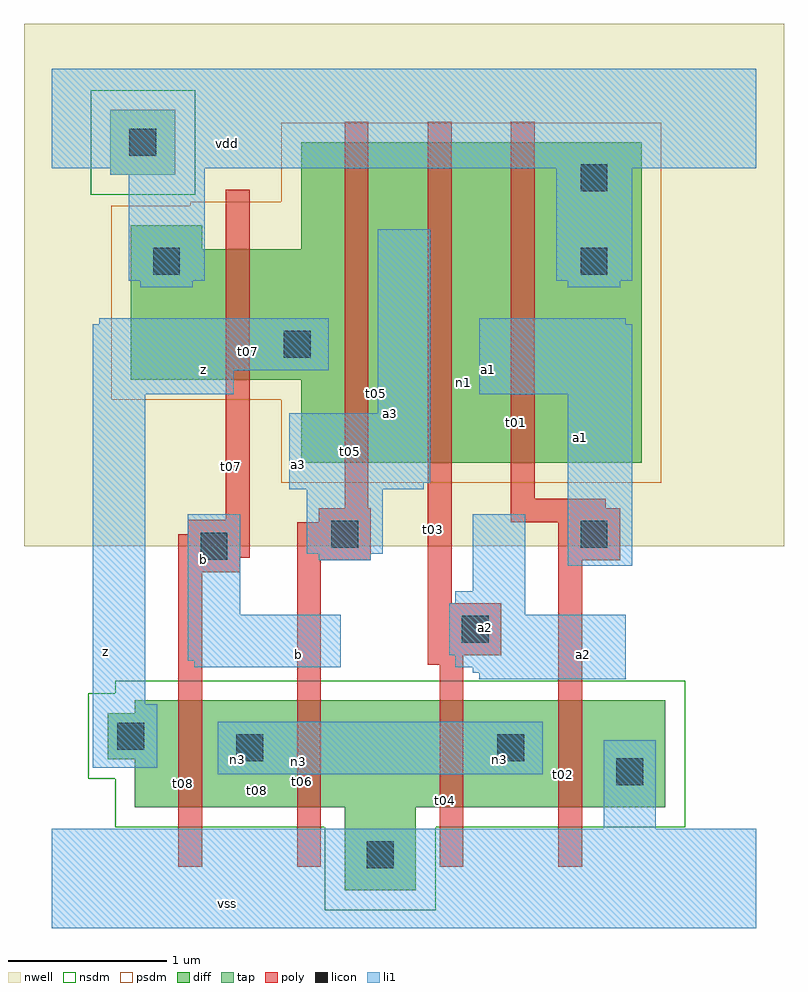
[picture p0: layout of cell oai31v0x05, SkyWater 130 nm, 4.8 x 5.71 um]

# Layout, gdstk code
import gdstk
lib = gdstk.Library(unit=1e-6, precision=5e-09)
def R(c, l, rs):  # rectangles x0, y0, x1, y1
    for r in rs: c.add(gdstk.rectangle(r[:2], r[2:], *l))
nwell = (64, 20)
diff = (65, 20)
tap = (65, 44)
poly = (66, 20)
licon = (66, 44)
li1 = (67, 20)
nsdm = (93, 44)
psdm = (94, 20)

oai31v0x05 = lib.new_cell('oai31v0x05')
R(oai31v0x05, nwell, [(-0.3,2.4,4.5,5.7)])
R(oai31v0x05, diff, [(1.725,0.225,2.175,1.425), (0.4,0.75,3.75,1.425), (0.23,1.055,3.75,1.345), (1.45,2.925,3.6,4.95), (0.375,3.45,0.825,4.425), (0.375,3.45,3.6,4.275)])
R(oai31v0x05, tap, [(0.245,4.745,0.655,5.155)])
R(oai31v0x05, poly, [(0.675,0.375,0.825,2.475), (1.425,0.375,1.575,2.55), (2.325,0.375,2.475,2.04), (3.075,0.375,3.225,2.7), (2.25,1.65,2.475,2.04), (2.25,1.65,2.4,5.08), (2.25,1.71,2.715,2.04), (0.675,2.235,1.065,2.475), (0.735,2.235,1.065,2.565), (1.425,2.31,1.89,2.55), (1.56,2.31,1.89,2.64), (1.725,2.31,1.875,5.08), (3.075,2.31,3.375,2.7), (3.075,2.31,3.465,2.64), (0.675,2.325,1.125,2.475), (0.975,2.325,1.125,4.65), (2.775,2.55,3.375,2.7), (2.775,2.55,2.925,5.08)])
R(oai31v0x05, licon, [(1.865,0.365,2.035,0.535), (3.44,0.89,3.61,1.06), (1.04,1.04,1.21,1.21), (2.69,1.04,2.86,1.21), (0.29,1.115,0.46,1.285), (2.465,1.79,2.635,1.96), (0.815,2.315,0.985,2.485), (1.64,2.39,1.81,2.56), (3.215,2.39,3.385,2.56), (1.34,3.59,1.51,3.76), (0.515,4.115,0.685,4.285), (3.215,4.115,3.385,4.285), (3.215,4.64,3.385,4.81), (0.365,4.865,0.535,5.035)])
R(oai31v0x05, li1, [(-0.125,-0.015,4.325,0.615), (-0.125,-0.015,4.325,0.615), (3.36,-0.015,3.69,1.175), (0.925,0.96,2.975,1.29), (0.135,1,0.54,1.4), (0.135,1,0.465,3.8), (0.175,1,0.465,3.84), (0.135,1.075,0.465,3.725), (2.575,1.56,2.865,2.6), (2.575,1.56,3.5,1.965), (2.535,1.6,2.865,2.6), (2.535,1.6,3.5,1.965), (0.775,1.635,1.065,2.6), (0.775,1.635,1.7,1.965), (1.375,1.635,1.625,1.965), (2.425,1.635,2.865,2.115), (2.425,1.635,3.5,1.965), (3.175,1.635,3.425,1.965), (0.735,1.675,1.065,2.6), (0.735,1.675,1.7,1.965), (2.535,1.675,2.865,2.525), (2.385,1.71,2.865,2.04), (2.385,1.71,3.5,1.965), (0.775,2.235,1.025,2.565), (3.135,2.275,3.5,3.84), (3.135,2.275,3.5,3.84), (3.135,2.275,3.54,3.8), (1.56,2.31,1.89,3.24), (1.485,2.35,1.965,3.24), (1.375,2.76,2.225,3.24), (1.935,2.76,2.225,4.4), (1.375,2.8,2.265,3.24), (1.935,2.8,2.265,4.4), (1.375,2.835,1.625,3.165), (1.935,2.875,2.265,4.325), (3.135,2.875,3.465,3.725), (0.135,3.36,1.025,3.8), (0.175,3.36,1.025,3.84), (2.575,3.36,3.54,3.8), (2.575,3.36,3.54,3.8), (2.575,3.36,3.5,3.84), (0.775,3.435,1.025,3.765), (2.575,3.435,2.825,3.765), (0.135,3.51,1.625,3.8), (0.175,3.51,1.625,3.84), (0.435,4.035,0.765,5.415), (3.135,4.035,3.465,5.415), (0.36,4.075,0.84,5.415), (3.06,4.075,3.54,5.415), (0.245,4.745,0.84,5.415), (-0.125,4.785,4.325,5.415), (-0.125,4.785,4.325,5.415)])
R(oai31v0x05, nsdm, [(1.6,0.1,2.3,1.55), (1.725,0.225,2.175,1.425), (1.725,0.225,2.175,1.425), (1.805,0.305,2.095,0.595), (0.275,0.625,3.875,1.55), (0.975,0.75,1.275,1.425), (0.975,0.75,1.275,1.425), (2.625,0.75,2.925,1.425), (2.625,0.75,2.925,1.425), (3.3,0.75,3.75,1.425), (3.3,0.75,3.75,1.425), (3.38,0.83,3.67,1.12), (0.105,0.93,3.875,1.47), (0.98,0.98,1.27,1.27), (2.63,0.98,2.92,1.27), (0.23,1.055,0.52,1.345), (0.12,4.62,0.78,5.28)])
R(oai31v0x05, psdm, [(1.325,2.8,3.725,5.075), (1.875,2.925,2.175,4.95), (1.875,2.925,2.175,4.95), (2.4,2.925,2.7,4.95), (2.4,2.925,2.7,4.95), (3.15,2.925,3.6,4.95), (3.15,2.925,3.6,4.95), (0.25,3.325,3.725,4.55), (0.75,3.325,3.725,4.575), (0.375,3.45,0.825,4.425), (0.375,3.45,0.825,4.425), (1.275,3.45,1.575,4.275), (1.275,3.45,1.575,4.275), (1.28,3.53,1.57,3.82), (0.455,4.055,0.745,4.345), (3.155,4.055,3.445,4.345), (3.155,4.58,3.445,4.87)])
oai31v0x05.add(gdstk.Label('t08', (1.175,0.855), layer=93, texttype=44))
oai31v0x05.add(gdstk.Label('t05', (1.925,3.365), layer=94, texttype=20))
oai31v0x05.add(gdstk.Label('t07', (1.115,3.63), layer=94, texttype=20))
oai31v0x05.add(gdstk.Label('t08', (1.235,0.915), layer=65, texttype=20))
oai31v0x05.add(gdstk.Label('t05', (1.985,3.43), layer=65, texttype=20))
oai31v0x05.add(gdstk.Label('n3', (2.7,1.05), layer=93, texttype=44))
oai31v0x05.add(gdstk.Label('n3', (1.05,1.05), layer=93, texttype=44))
oai31v0x05.add(gdstk.Label('n1', (2.475,3.43), layer=94, texttype=20))
oai31v0x05.add(gdstk.Label('n2', (1.95,3.43), layer=94, texttype=20))
oai31v0x05.add(gdstk.Label('t08', (0.71,0.9), layer=66, texttype=20))
oai31v0x05.add(gdstk.Label('t07', (1.01,2.905), layer=66, texttype=20))
oai31v0x05.add(gdstk.Label('t06', (1.46,0.915), layer=66, texttype=20))
oai31v0x05.add(gdstk.Label('t05', (1.76,3), layer=66, texttype=20))
oai31v0x05.add(gdstk.Label('t04', (2.36,0.79), layer=66, texttype=20))
oai31v0x05.add(gdstk.Label('t03', (2.285,2.505), layer=66, texttype=20))
oai31v0x05.add(gdstk.Label('t02', (3.11,0.955), layer=66, texttype=20))
oai31v0x05.add(gdstk.Label('t01', (2.81,3.18), layer=66, texttype=20))
oai31v0x05.add(gdstk.Label('n3', (2.73,1.08), layer=66, texttype=44))
oai31v0x05.add(gdstk.Label('n3', (1.08,1.08), layer=66, texttype=44))
oai31v0x05.add(gdstk.Label('z', (0.215,1.735), layer=67, texttype=20))
oai31v0x05.add(gdstk.Label('b', (0.835,2.315), layer=67, texttype=20))
oai31v0x05.add(gdstk.Label('z', (0.835,3.515), layer=67, texttype=20))
oai31v0x05.add(gdstk.Label('b', (1.435,1.715), layer=67, texttype=20))
oai31v0x05.add(gdstk.Label('a3', (1.435,2.915), layer=67, texttype=20))
oai31v0x05.add(gdstk.Label('a3', (2.015,3.235), layer=67, texttype=20))
oai31v0x05.add(gdstk.Label('n3', (1.435,1.04), layer=67, texttype=20))
oai31v0x05.add(gdstk.Label('a2', (2.615,1.885), layer=67, texttype=20))
oai31v0x05.add(gdstk.Label('a1', (2.635,3.515), layer=67, texttype=20))
oai31v0x05.add(gdstk.Label('vss', (0.985,0.14), layer=67, texttype=20))
oai31v0x05.add(gdstk.Label('a2', (3.235,1.715), layer=67, texttype=20))
oai31v0x05.add(gdstk.Label('a1', (3.215,3.085), layer=67, texttype=20))
oai31v0x05.add(gdstk.Label('vdd', (0.985,4.94), layer=67, texttype=20))

lib.write_gds('oai31v0x05.gds')
